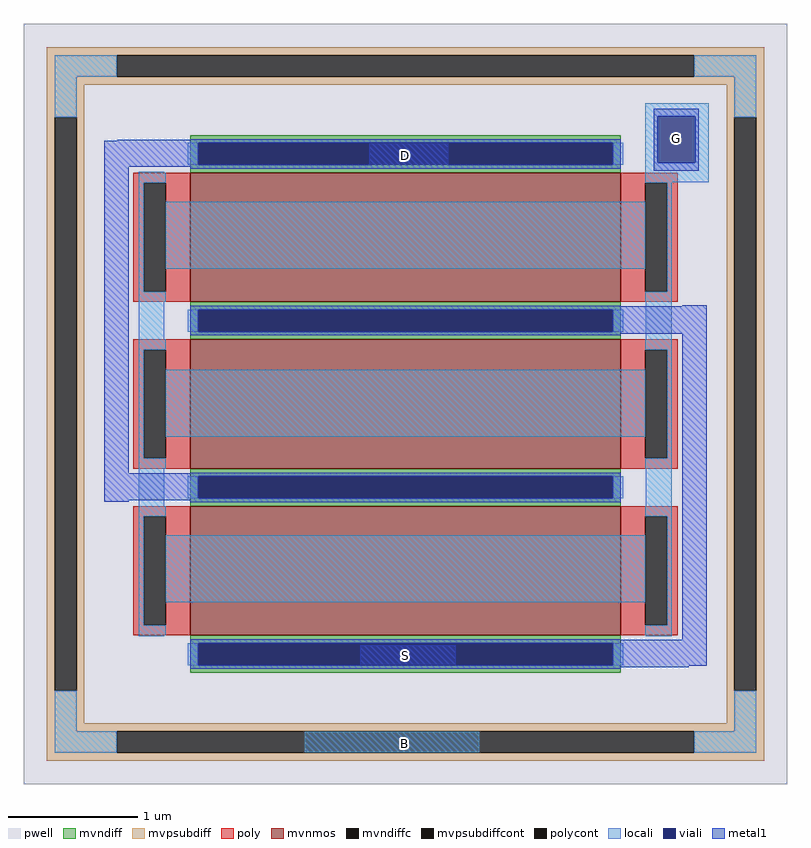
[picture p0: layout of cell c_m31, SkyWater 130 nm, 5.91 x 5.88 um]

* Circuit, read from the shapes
.subckt c_m31 D G S B
XM1 D G S B sky130_fd_pr__nfet_g5v0d10v5 w=3.33 l=1 m=3
.ends

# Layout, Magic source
magic
tech sky130A
magscale 1 2
<< locali >>
rect 897 968 995 988
rect 897 896 916 968
rect 974 896 995 968
rect 897 866 995 896
rect 370 -16 640 16
<< viali >>
rect 916 896 974 968
<< metal1 >>
rect 910 968 980 980
rect 470 892 592 926
rect 910 896 916 968
rect 974 896 980 968
rect 910 884 980 896
rect 456 120 604 150
use sky130_fd_pr__nfet_g5v0d10v5_26NRES  sky130_fd_pr__nfet_g5v0d10v5_26NRES_0
transform 0 1 526 -1 0 523
box -588 -591 588 591
<< labels >>
flabel metal1 526 908 526 908 0 FreeSans 800 0 0 0 D
port 0 nsew
flabel viali 944 934 946 934 0 FreeSans 800 0 0 0 G
port 1 nsew
flabel metal1 526 134 526 134 0 FreeSans 800 0 0 0 S
port 2 nsew
flabel locali 524 -2 524 -2 0 FreeSans 800 0 0 0 B
port 3 nsew
<< end >>

# cell sky130_fd_pr__nfet_g5v0d10v5_26NRES: kit device sky130_fd_pr__nfet_g5v0d10v5, w 3.33 l 1 m 1 nf 3 diffcov 100 polycov 100 guard 1 glc 1 grc 1 gtc 1 gbc 1 tbcov 100 rlcov 100 topc 1 botc 1 poverlap 0 doverlap 1 lmin 0.50 wmin 0.42 class mosfet compatible {sky130_fd_pr__nfet_01v8 sky130_fd_pr__nfet_01v8_lvt sky130_fd_bs_flash__special_sonosfet_star sky130_fd_pr__nfet_g5v0d10v5 sky130_fd_pr__nfet_05v0_nvt sky130_fd_pr__nfet_03v3_nvt} full_metal 1 conn_gates 0 viasrc 100 viadrn 100 viagate 100 viagb 0 viagr 0 viagl 0 viagt 0 doports 1
